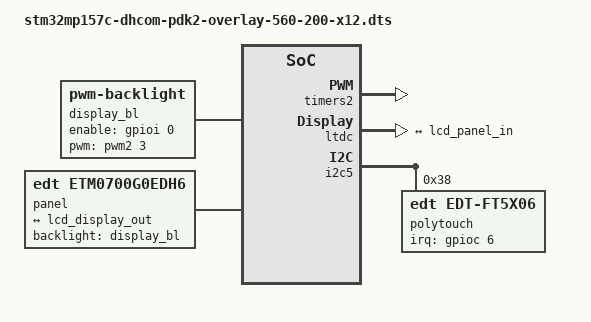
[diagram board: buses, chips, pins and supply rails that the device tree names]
// SPDX-License-Identifier: (GPL-2.0+ OR BSD-3-Clause)
/*
 * Copyright (C) 2020 Marek Vasut <marex@denx.de>
 */
#include <dt-bindings/gpio/gpio.h>
#include <dt-bindings/input/input.h>
#include <dt-bindings/interrupt-controller/arm-gic.h>
#include <dt-bindings/pwm/pwm.h>

/dts-v1/;
/plugin/;

&{/} {
	#address-cells = <1>;
	#size-cells = <1>;

	display_bl: display-bl {
		compatible = "pwm-backlight";
		pwms = <&pwm2 3 500000 PWM_POLARITY_INVERTED>;
		brightness-levels = <0 16 22 30 40 55 75 102 138 188 255>;
		default-brightness-level = <8>;
		enable-gpios = <&gpioi 0 GPIO_ACTIVE_HIGH>;
		status = "okay";
	};

	gpio-keys {
		/*
		 * The EXTi IRQ line 6 is shared with touchscreen IRQ,
		 * so operate button-1 as polled GPIO key.
		 */
		button-1 {
			/* Use status as /delete-node/ does not work in DTOs */
			status = "disabled";
		};
	};

	gpio-keys-polled {
		button-1 {
			label = "TA2-GPIO-B";
			linux,code = <KEY_B>;
			gpios = <&gpiod 6 GPIO_ACTIVE_LOW>;
		};
	};

	led {
		/* LED5 GPIO-E conflicts with touchscreen IRQ */
		led-0 {
			/* Use status as /delete-node/ does not work in DTOs */
			status = "disabled";
		};
	};

	panel {
		compatible = "edt,etm0700g0edh6";
		backlight = <&display_bl>;

		port {
			lcd_panel_in: endpoint {
				remote-endpoint = <&lcd_display_out>;
			};
		};
	};
};

&timers2 {
	/* spare dmas for other usage (un-delete to enable pwm capture) */
	dmas;
	dma-names;
	status = "okay";

	pwm2: pwm {
		#pwm-cells = <3>;
		pinctrl-0 = <&pwm2_pins_a>;
		pinctrl-names = "default";
		status = "okay";
	};

	timer@1 {
		status = "okay";
	};
};

&ltdc {
	pinctrl-names = "default", "sleep";
	pinctrl-0 = <&ltdc_pins_b>;
	pinctrl-1 = <&ltdc_sleep_pins_b>;
	status = "okay";

	port {
		lcd_display_out: endpoint {
			remote-endpoint = <&lcd_panel_in>;
		};
	};
};

&i2c5 {
	#address-cells = <1>;
	#size-cells = <0>;

	polytouch@38 {
		compatible = "edt,edt-ft5x06";
		reg = <0x38>;
		/* Touchscreen IRQ GPIO-E conflicts with LED5 GPIO */
		interrupt-parent = <&gpioc>;
		interrupts = <6 IRQ_TYPE_EDGE_FALLING>; /* GPIO E */
		linux,wakeup;
	};
};
